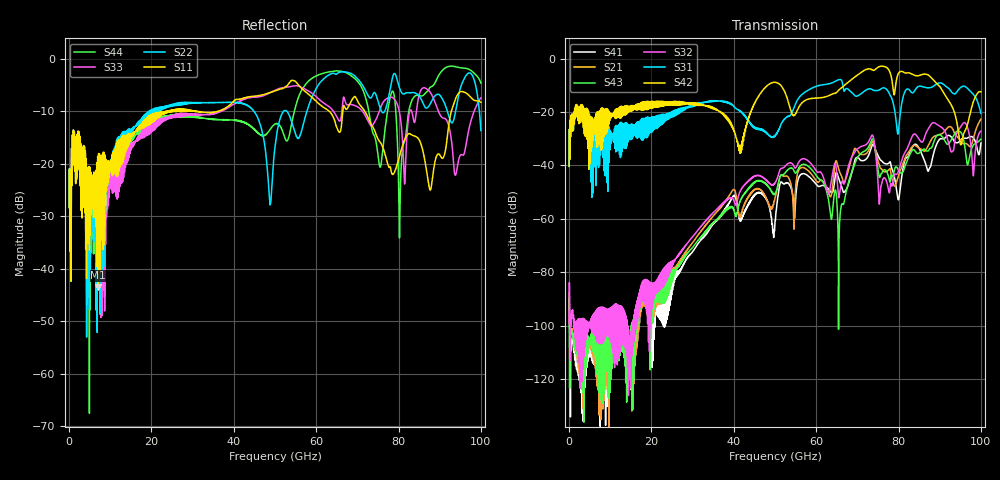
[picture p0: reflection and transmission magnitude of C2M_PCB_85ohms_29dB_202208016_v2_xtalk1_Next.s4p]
! Info: Touchstone file created by Circ.  Input file=Intel_C2M_200G_13p0in_202208016_staggered.circ
# Hz S RI R 50
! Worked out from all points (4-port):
!   10000 points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, 10 MHz to 100 GHz, reference 50 ohm
!   strongest paths, dB at 10 MHz, 25.01 GHz, 50.01 GHz, 75.01 GHz, 100 GHz:
!     S42: -40.3, -16.4, -8.9, -3.3, -12.5
!     S31: -40.4, -20.4, -28.7, -12.0, -20.6
!     S32: -99.3, -76.5, -46.4, -46.2, -27.2
!     S43: -88.8, -79.9, -50.4, -41.7, -30.2
!     S21: -88.4, -79.0, -52.1, -38.2, -22.7
!     S41: -87.7, -80.7, -60.9, -36.3, -31.7
!   lowest |S11| = -43.6 dB at 7.06 GHz (marker M1), VSWR 1.01, Z = 50.5 - j0.449 ohm
!   |S11| at or under -10 dB: start of sweep to 23.35 GHz; 31.21 GHz to 36.08 GHz (4.868 GHz wide, 14.5 % of centre); 71.8 GHz to 92.82 GHz (21.02 GHz wide, 25.5 % of centre)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
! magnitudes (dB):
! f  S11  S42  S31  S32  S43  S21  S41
! 10 MHz  -28.3  -40.3  -40.4  -99.3  -88.8  -88.4  -87.7
! 7.06 GHz  -43.6  -20.8  -23.5  -106.3  -111.5  -120.0  -113.8
! 41.48 GHz  -7.7  -35.4  -19.6  -50.1  -53.8  -59.5  -60.4
! 48.78 GHz  -6.4  -9.4  -29.2  -47.0  -48.9  -55.9  -56.7
! 76.09 GHz  -16.7  -2.9  -11.0  -45.8  -42.4  -41.9  -38.6
! 95.19 GHz  -6.2  -32.2  -10.7  -25.4  -27.7  -31.2  -30.3
! 100 GHz  -8.3  -12.5  -20.6  -27.2  -30.2  -22.7  -31.7
